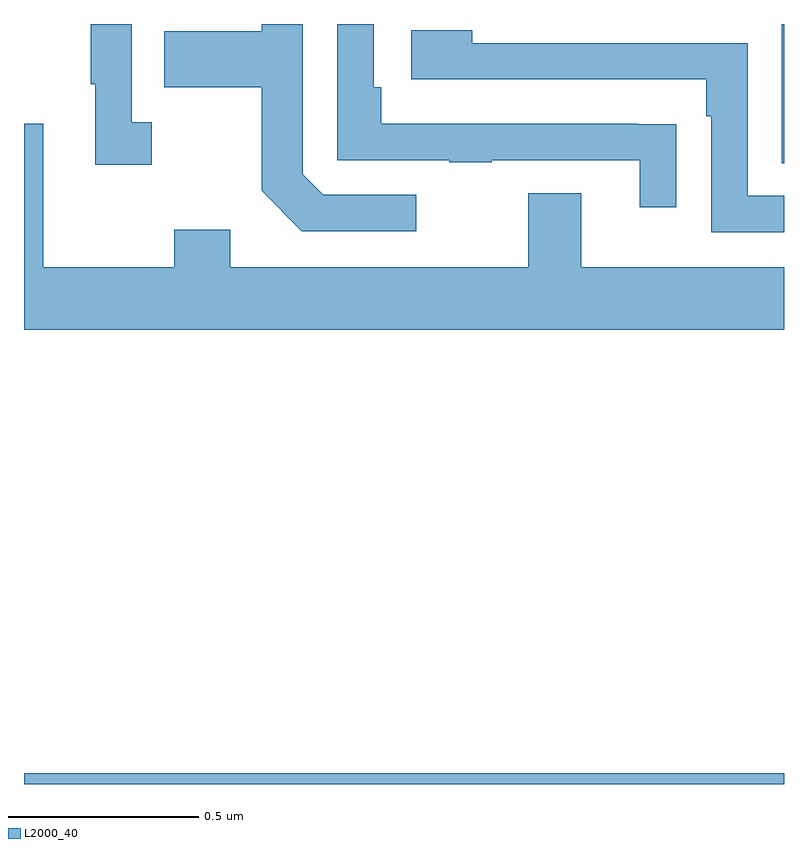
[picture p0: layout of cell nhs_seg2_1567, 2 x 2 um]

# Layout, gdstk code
import gdstk
lib = gdstk.Library(unit=1e-6, precision=1e-09)
def R(c, l, rs):  # rectangles x0, y0, x1, y1
    for r in rs: c.add(gdstk.rectangle(r[:2], r[2:], *l))
def P(c, l, *ps):  # polygons
    for p in ps: c.add(gdstk.Polygon(p, *l))
L2000_40 = (2000, 40)

nhs_seg2_1567 = lib.new_cell('nhs_seg2_1567')
R(nhs_seg2_1567, L2000_40, [(130,619.8,132,619.828), (131.994,621.433,132,621.8)])
P(nhs_seg2_1567, L2000_40, [(130.336,621.542),(130.284,621.542),(130.284,621.8),(130.176,621.8),(130.176,621.641),(130.187,621.641),(130.187,621.429),(130.336,621.429)],
  [(131.032,621.351),(130.788,621.351),(130.734,621.405),(130.734,621.8),(130.626,621.8),(130.626,621.781),(130.369,621.781),(130.369,621.634),(130.626,621.634),(130.626,621.361),(130.731,621.255),(131.032,621.255)],
  [(131.717,621.536),(131.615,621.536),(131.615,621.537),(130.94,621.537),(130.94,621.634),(130.92,621.634),(130.92,621.8),(130.824,621.8),(130.824,621.441),(131.119,621.441),(131.119,621.436),(131.231,621.436),(131.231,621.441),(131.621,621.441),(131.621,621.318),(131.717,621.318)],
  [(132,621.348),(131.904,621.348),(131.904,621.75),(131.18,621.75),(131.18,621.784),(131.019,621.784),(131.019,621.654),(131.795,621.654),(131.795,621.557),(131.808,621.557),(131.808,621.252),(132,621.252)],
  [(132,621.16),(131.467,621.16),(131.467,621.355),(131.327,621.355),(131.327,621.16),(130.543,621.16),(130.543,621.259),(130.396,621.259),(130.396,621.16),(130.051,621.16),(130.051,621.538),(130,621.538),(130,620.996),(132,620.996)])

lib.write_gds('nhs_seg2_1567.gds')
